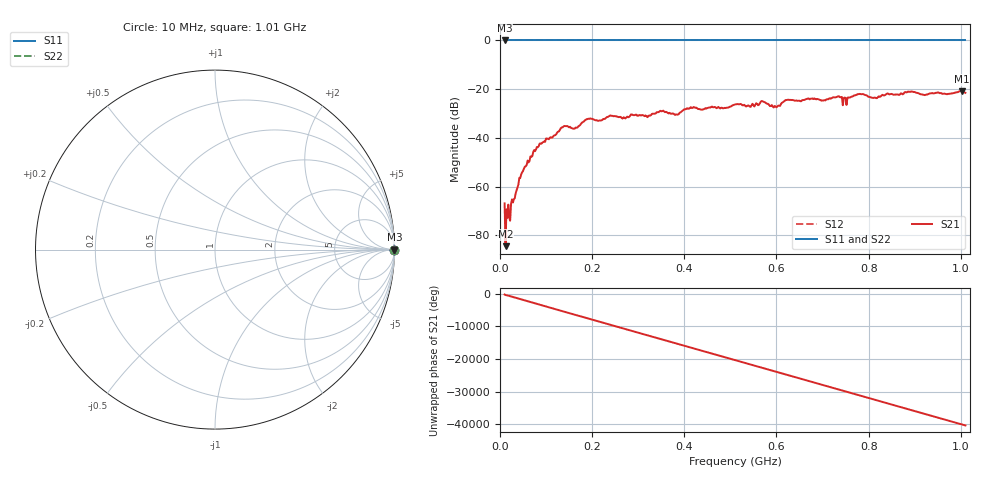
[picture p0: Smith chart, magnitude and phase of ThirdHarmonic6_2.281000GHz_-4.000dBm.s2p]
! 8/17/2025 2:57:22 AM
! C:\ANRITSUVNA\TEMP\TEMP.S2P
! CHANNEL.1
! TR.MEASUREMENT
! RAW.DATA
! RF.CORRECTION.OFF
! AVERAGING.OFF
! IF.BANDWIDTH: 5KHZ
! SWEEPTYPE:  FREQ.SWEEP(Linear)
! Reference Plane Port Info
! PORT:  PORT1  PORT2
! DISTANCE:  0  m  0  m
! TIME:  0  s  0  s
! PHASE.OFFSET:  0  deg.  0  deg.
! LOSS:  0  dB  0  dB
! REF.LOSS:  0  dB  0  dB
! REF.FREQ:  0  Hz  0  Hz
! Power Info
! POWER:  -20  dBm  -20  dBm
! EFF.POWER:  -20  dBm  -20  dBm
! SOURCE.ATTEN:  0  dB  0  dB
! TEST.ATTEN:  0  dB  0  dB
# GHZ S RI R 50.0
! FREQ.GHZ  S11RE  S11IM  S21RE  S21IM  S12RE  S12IM  S22RE  S22IM
!; PortSelection: Port_12
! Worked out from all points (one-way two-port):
!   501 points, 10 MHz to 1.01 GHz, reference 50 ohm
!   highest |S21| = -20.80 dB at 1.002 GHz (marker M1); lowest = -84.4 dB at 12 MHz (marker M2)
!   lowest |S11| = 0.0 dB at 10 MHz (marker M3)
!   |S11| at or under -10 dB: nowhere
!   |S22| runs from 0.0 to 0.0 dB; largest |S21 - S12| = 1.1
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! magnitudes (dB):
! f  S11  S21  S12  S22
! 10 MHz  0.0  -66.8  0.0  0.0
! 12 MHz  0.0  -84.4  0.0  0.0
! 16 MHz  0.0  -72.7  0.0  0.0
! 24 MHz  0.0  -67.0  0.0  0.0
! 50 MHz  0.0  -53.5  0.0  0.0
! 84 MHz  0.0  -43.4  0.0  0.0
! 136 MHz  0.0  -35.6  0.0  0.0
! 178 MHz  0.0  -33.7  0.0  0.0
! 344 MHz  0.0  -29.4  0.0  0.0
! 384 MHz  0.0  -30.4  0.0  0.0
! 416 MHz  0.0  -27.7  0.0  0.0
! 510 MHz  0.0  -26.3  0.0  0.0
! 570 MHz  0.0  -25.0  0.0  0.0
! 596 MHz  0.0  -26.9  0.0  0.0
! 622 MHz  0.0  -24.4  0.0  0.0
! 678 MHz  0.0  -23.8  0.0  0.0
! 748 MHz  0.0  -23.4  0.0  0.0
! 778 MHz  0.0  -22.0  0.0  0.0
! 814 MHz  0.0  -23.4  0.0  0.0
! 844 MHz  0.0  -22.0  0.0  0.0
! 1.002 GHz  0.0  -20.8  0.0  0.0
! 1.01 GHz  0.0  -21.5  0.0  0.0
